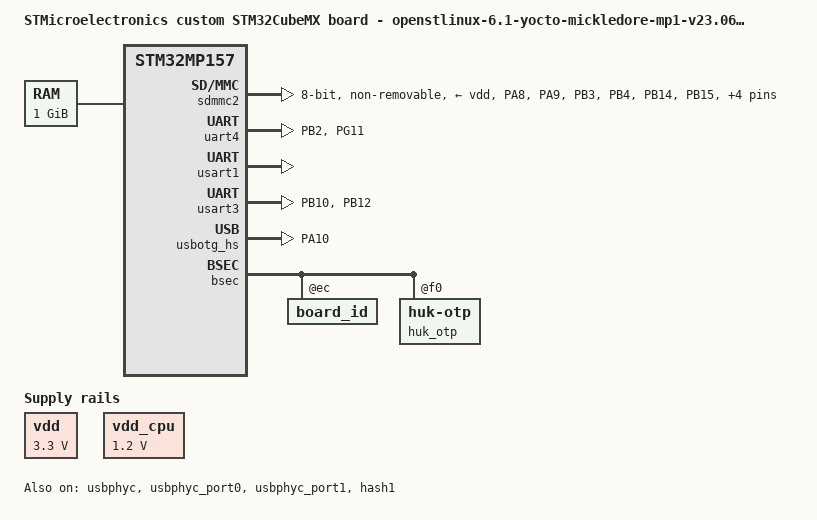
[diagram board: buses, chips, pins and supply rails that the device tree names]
// SPDX-License-Identifier: (GPL-2.0-or-later OR BSD-3-Clause)
/*
 * Copyright (C) 2024, STMicroelectronics - All Rights Reserved
 * Author: STM32CubeMX code generation for STMicroelectronics.
 */

/* For more information on Device Tree configuration, please refer to
 * https://wiki.st.com/stm32mpu/wiki/Category:Device_tree_configuration
 */

/dts-v1/;
#include <dt-bindings/pinctrl/stm32-pinfunc.h>
#include <dt-bindings/clock/stm32mp1-clksrc.h>
#include "stm32mp15-bjb.dtsi"

#include "stm32mp157.dtsi"
#include "stm32mp15xc.dtsi"
#include "stm32mp15-pinctrl.dtsi"
#include "stm32mp15xxac-pinctrl.dtsi"
#include "stm32mp15-ddr.dtsi"

/* USER CODE BEGIN includes */
/* USER CODE END includes */

/ {
	model = "STMicroelectronics custom STM32CubeMX board - openstlinux-6.1-yocto-mickledore-mp1-v23.06.21";
	compatible = "st,stm32mp157a-cortex-m4-mx", "st,stm32mp157";

	memory@c0000000 {
		device_type = "memory";
		reg = <0xc0000000 0x40000000>;

		/* USER CODE BEGIN memory */
		/* USER CODE END memory */
	};

	/* USER CODE BEGIN root */
	aliases {
		serial0 = &uart4;
	};
	chosen {
		stdout-path = "serial0:115200n8";
	};
	vdd: vdd {
		compatible = "regulator-fixed";
		regulator-name = "vdd";
		regulator-min-microvolt = <3300000>;
		regulator-max-microvolt = <3300000>;
		regulator-always-on;
	};
	vdd_cpu: vdd_cpu{
		compatible = "regulator-fixed";
		regulator-name = "vdd_cpu";
		regulator-min-microvolt = <1200000>;
		regulator-max-microvolt = <1200000>;
		regulator-always-on;
	};
	/* USER CODE END root */

	clocks {
		/* USER CODE BEGIN clocks */
		/* USER CODE END clocks */

		clk_hsi: clk-hsi {
			clock-frequency = <64000000>;

			/* USER CODE BEGIN clk_hsi */
			/* USER CODE END clk_hsi */
		};
		clk_lse: clk-lse {
			clock-frequency = <32768>;
			st,drive = < LSEDRV_MEDIUM_HIGH >;

			/* USER CODE BEGIN clk_lse */
			/* USER CODE END clk_lse */
		};
		clk_hse: clk-hse {
			clock-frequency = <24000000>;

			/* USER CODE BEGIN clk_hse */
			/* USER CODE END clk_hse */
		};
	};

}; /*root*/

&pinctrl {
	sdmmc2_pins_mx: sdmmc2_mx-0 {
		pins1 {
			pinmux = <STM32_PINMUX('A', 8, AF9)>, /* SDMMC2_D4 */
					 <STM32_PINMUX('A', 9, AF10)>, /* SDMMC2_D5 */
					 <STM32_PINMUX('B', 3, AF9)>, /* SDMMC2_D2 */
					 <STM32_PINMUX('B', 4, AF9)>, /* SDMMC2_D3 */
					 <STM32_PINMUX('B', 14, AF9)>, /* SDMMC2_D0 */
					 <STM32_PINMUX('B', 15, AF9)>, /* SDMMC2_D1 */
					 <STM32_PINMUX('C', 6, AF10)>, /* SDMMC2_D6 */
					 <STM32_PINMUX('C', 7, AF10)>, /* SDMMC2_D7 */
					 <STM32_PINMUX('G', 6, AF10)>; /* SDMMC2_CMD */
			bias-pull-up;
			drive-push-pull;
			slew-rate = <1>;
		};
		pins2 {
			pinmux = <STM32_PINMUX('E', 3, AF9)>; /* SDMMC2_CK */
			bias-pull-up;
			drive-push-pull;
			slew-rate = <3>;
		};
	};

	uart4_pins_mx: uart4_mx-0 {
		pins1 {
			pinmux = <STM32_PINMUX('B', 2, AF8)>; /* UART4_RX */
			bias-pull-up;
		};
		pins2 {
			pinmux = <STM32_PINMUX('G', 11, AF6)>; /* UART4_TX */
			bias-pull-up;
			drive-push-pull;
			slew-rate = <0>;
		};
	};

	usart3_pins_mx: usart3_mx-0 {
		pins1 {
			pinmux = <STM32_PINMUX('B', 10, AF7)>; /* USART3_TX */
			bias-disable;
			drive-push-pull;
			slew-rate = <0>;
		};
		pins2 {
			pinmux = <STM32_PINMUX('B', 12, AF8)>; /* USART3_RX */
			bias-disable;
		};
	};

	usb_otg_hs_pins_mx: usb_otg_hs_mx-0 {
		pins {
			pinmux = <STM32_PINMUX('A', 10, ANALOG)>; /* USB_OTG_HS_ID */
		};
	};

	/* USER CODE BEGIN pinctrl */
	/* USER CODE END pinctrl */
};

&pinctrl_z {
	usart1_pins_z_mx: usart1_mx-0 {
		pins1 {
			pinmux = <STM32_PINMUX('Z', 6, AF7)>; /* USART1_RX */
			bias-disable;
		};
		pins2 {
			pinmux = <STM32_PINMUX('Z', 7, AF7)>; /* USART1_TX */
			bias-disable;
			drive-push-pull;
			slew-rate = <0>;
		};
	};

	/* USER CODE BEGIN pinctrl_z */
	/* USER CODE END pinctrl_z */
};

&iwdg1{
	status = "disabled";

	/* USER CODE BEGIN iwdg1 */
	/* USER CODE END iwdg1 */
};

&iwdg2{
	status = "disabled";

	/* USER CODE BEGIN iwdg2 */
	/* USER CODE END iwdg2 */
};

&rcc{
	status = "okay";

	/* USER CODE BEGIN rcc */
	/* USER CODE END rcc */

	st,clksrc = <
		CLK_CKPER_DISABLED
		CLK_SDMMC12_PLL4P
		CLK_STGEN_HSE
		CLK_USBO_USBPHY
		CLK_UART1_HSI
		CLK_UART24_HSE
		CLK_UART35_HSE
		CLK_MPU_PLL1P
		CLK_AXI_PLL2P
		CLK_MCU_HSI
	>;
	st,clkdiv = <
		DIV(DIV_MPU, 1)
		DIV(DIV_AXI, 0)
		DIV(DIV_MCU, 0)
		DIV(DIV_APB1, 2)
		DIV(DIV_APB2, 1)
		DIV(DIV_APB3, 1)
		DIV(DIV_APB4, 1)
		DIV(DIV_APB5, 2)
		DIV(DIV_RTC, 0)
		DIV(DIV_MCO1, 0)
		DIV(DIV_MCO2, 0)
	>;
	st,pll_vco {
		pll2_vco_1066Mhz: pll2-vco-1066Mhz {
			src = < CLK_PLL12_HSE >;
			divmn = < 2 65 >;
			frac = < 0x1400 >;
		};
		pll4_vco_408Mhz: pll4-vco-408Mhz {
			src = < CLK_PLL4_HSE >;
			divmn = < 1 33 >;
		};
		/* USER CODE BEGIN rcc_st-pll_vco */
		/* USER CODE END rcc_st-pll_vco */
	};

	pll2:st,pll@1 {
		compatible = "st,stm32mp1-pll";
		reg = <1>;

		st,pll = < &pll2_cfg1 >;

		pll2_cfg1: pll2_cfg1 {
			st,pll_vco = < &pll2_vco_1066Mhz >;
			st,pll_div_pqr = < 1 1 0 >;
		};
		/* USER CODE BEGIN pll2 */
		/* USER CODE END pll2 */
	};

	pll4:st,pll@3 {
		compatible = "st,stm32mp1-pll";
		reg = <3>;

		st,pll = < &pll4_cfg1 >;

		pll4_cfg1: pll4_cfg1 {
			st,pll_vco = < &pll4_vco_408Mhz >;
			st,pll_div_pqr = < 2 33 3 >;
		};
		/* USER CODE BEGIN pll4 */
		/* USER CODE END pll4 */
	};

};

&sdmmc2{
	pinctrl-names = "default";
	pinctrl-0 = <&sdmmc2_pins_mx>;
	status = "okay";

	/* USER CODE BEGIN sdmmc2 */
	non-removable;
	no-sd;
	no-sdio;
	st,neg-edge;
	bus-width = <8>;
	vmmc-supply = <&vdd>;
	vqmmc-supply = <&vdd>;
	mmc-ddr-3_3v;
	/* USER CODE END sdmmc2 */
};

&uart4{
	pinctrl-names = "default";
	pinctrl-0 = <&uart4_pins_mx>;
	status = "okay";

	/* USER CODE BEGIN uart4 */
	/* USER CODE END uart4 */
};

&usart1{
	pinctrl-names = "default";
	pinctrl-0 = <&usart1_pins_z_mx>;
	status = "okay";

	/* USER CODE BEGIN usart1 */
	/* USER CODE END usart1 */
};

&usart3{
	pinctrl-names = "default";
	pinctrl-0 = <&usart3_pins_mx>;
	status = "okay";

	/* USER CODE BEGIN usart3 */
	/* USER CODE END usart3 */
};

&usbotg_hs{
	pinctrl-names = "default";
	pinctrl-0 = <&usb_otg_hs_pins_mx>;
	status = "okay";

	/* USER CODE BEGIN usbotg_hs */
	/* USER CODE END usbotg_hs */
};

&usbphyc{
	status = "okay";

	/* USER CODE BEGIN usbphyc */
	/* USER CODE END usbphyc */
};

&usbphyc_port0{
	status = "okay";

	/* USER CODE BEGIN usbphyc_port0 */
	/* USER CODE END usbphyc_port0 */
};

&usbphyc_port1{
	status = "okay";

	/* USER CODE BEGIN usbphyc_port1 */
	/* USER CODE END usbphyc_port1 */
};

/* USER CODE BEGIN addons */
&cpu0{
	cpu-supply = <&vdd_cpu>;
};
&cpu1{
	cpu-supply = <&vdd_cpu>;
};
&hash1 {
    status = "okay";
};
&bsec {
    board_id: board_id@ec {
        reg = <0xec 0x4>;
        st,non-secure-otp;
    };
    huk_otp: huk-otp@f0 {
        reg = <0xf0 0x10>;
    };  
};
/* USER CODE END addons */

